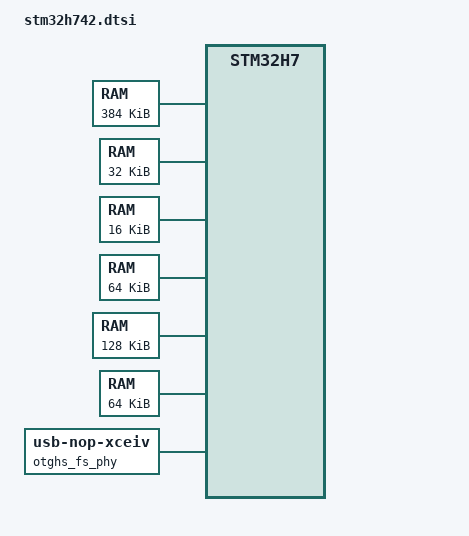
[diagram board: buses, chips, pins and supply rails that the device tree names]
/*
 * Copyright (c) 2025 Brill Power
 *
 * SPDX-License-Identifier: Apache-2.0
 */

#include <st/h7/stm32h7.dtsi>
#include <zephyr/dt-bindings/display/panel.h>

/ {
	soc {
		compatible = "st,stm32h742", "st,stm32h7", "simple-bus";

		flash-controller@52002000 {
			flash0: flash@8000000 {
				compatible = "st,stm32-nv-flash", "soc-nv-flash";
				write-block-size = <32>;
				erase-block-size = <DT_SIZE_K(128)>;
				/* maximum erase time for a 128K sector */
				max-erase-time = <4000>;
			};
		};

		dmamux1: dmamux@40020800 {
			dma-requests = <107>;
		};

		dmamux2: dmamux@58025800 {
			dma-requests = <12>;
		};

		usbotg_fs: usb@40080000 {
			compatible = "st,stm32-otgfs";
			reg = <0x40080000 0x40000>;
			interrupts = <101 0>, <98 0>, <99 0>;
			interrupt-names = "otgfs", "ep1_out", "ep1_in";
			num-bidir-endpoints = <9>;
			ram-size = <4096>;
			maximum-speed = "full-speed";
			clocks = <&rcc STM32_CLOCK(AHB1, 27)>,
				 <&rcc STM32_SRC_HSI48 USB_SEL(3)>;
			phys = <&otghs_fs_phy>;
			status = "disabled";
		};

		ltdc: display-controller@50001000 {
			compatible = "st,stm32-ltdc";
			reg = <0x50001000 0x200>;
			interrupts = <88 0>, <89 0>;
			interrupt-names = "ltdc", "ltdc_er";
			clocks = <&rcc STM32_CLOCK(APB3, 3)>;
			resets = <&rctl STM32_RESET(APB3, 3)>;
			status = "disabled";
		};

		rtc@58004000 {
			bbram: backup_regs {
				compatible = "st,stm32-bbram";
				st,backup-regs = <32>;
				status = "disabled";
			};
		};
	};

	/* System data RAM accessible over AXI bus: AXI SRAM in D1 domain */
	sram0: memory@24000000 {
		compatible = "zephyr,memory-region", "mmio-sram";
		reg = <0x24000000 DT_SIZE_K(384)>;
		zephyr,memory-region = "SRAM0";
	};

	/* System data RAM accessible over AHB bus: SRAM1 in D2 domain */
	sram1: memory@30000000 {
		compatible = "zephyr,memory-region", "mmio-sram";
		reg = <0x30000000 DT_SIZE_K(32)>;
		zephyr,memory-region = "SRAM1";
	};

	/* System data RAM accessible over AHB bus: SRAM2 in D2 domain */
	sram2: memory@30020000 {
		compatible = "zephyr,memory-region", "mmio-sram";
		reg = <0x30020000 DT_SIZE_K(16)>;
		zephyr,memory-region = "SRAM2";
	};

	/* System data RAM accessible over AHB bus: SRAM4 in D3 domain  */
	sram4: memory@38000000 {
		compatible = "zephyr,memory-region", "mmio-sram";
		reg = <0x38000000 DT_SIZE_K(64)>;
		zephyr,memory-region = "SRAM4";
	};

	dtcm: memory@20000000 {
		compatible = "zephyr,memory-region", "arm,dtcm";
		reg = <0x20000000 DT_SIZE_K(128)>;
		zephyr,memory-region = "DTCM";
	};

	itcm: memory@0 {
		compatible = "zephyr,memory-region", "arm,itcm";
		reg = <0x00000000 DT_SIZE_K(64)>;
		zephyr,memory-region = "ITCM";
	};

	otghs_fs_phy: otghs_fs_phy {
		compatible = "usb-nop-xceiv";
		#phy-cells = <0>;
	};

	vref: vref {
		io-channels = <&adc3 19>;
	};

	vbat: vbat {
		io-channels = <&adc3 17>;
	};
};
